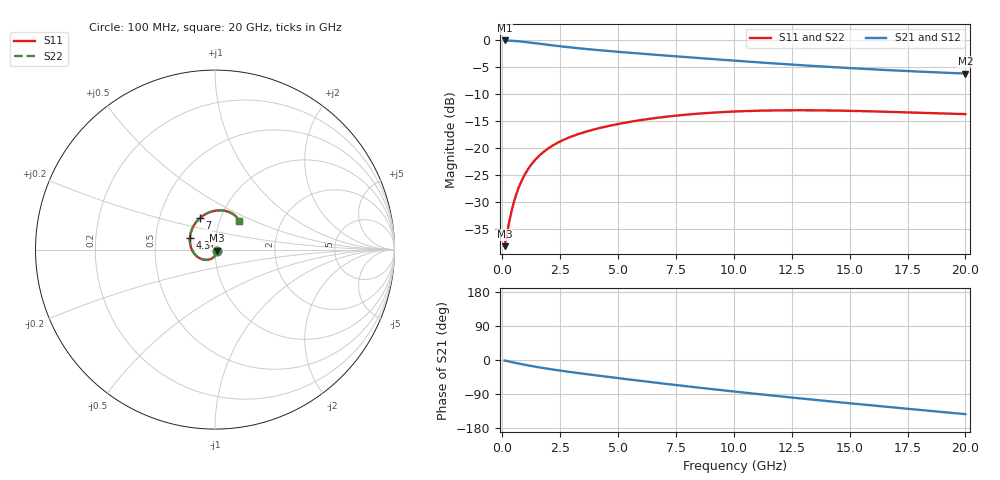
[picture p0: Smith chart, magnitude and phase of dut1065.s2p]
! Touchstone file exported from HFSS 2024.1.0
!  File:  C:/UserFiles/LocalFiles/RDL_TSV_Batchsim/temp_RDL_TSV_1065_1780091856.aedt
!  Generated:  06:11:51 AM May 30, 2026
!  Design:  RDL_TSV
!  Project:  temp_RDL_TSV_1065_1780091856
!  Setup:  Setup1
!  Solution:  Sweep
! Variables:
!  dtsv = 14.98um
!  hbump = 3um
!  htsv = 67.66um
!  ldown = 206.34um
!  lrdl = 285.38um
!  p = 40
!  p1 = 40.29um
!  rhole = 10um
!  subl = 1760.54um
!  t = 450um
!  tdown = 2.26um
!  trdl = 3.28um
!  viad = 10um
!  wdown = 17.84um
!  wrdl = 24.91um
!  xbump = 18um
# GHz S MA R 50.000000
! Terminal data exported
! Port[1] = TM1_1_T1
! Port[2] = TM1_4_T1
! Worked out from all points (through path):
!   200 points, 100 MHz to 20 GHz, reference 50 ohm
!   highest |S21| = -0.10 dB at 100 MHz (marker M1); lowest = -6.2 dB at 20 GHz (marker M2)
!   group delay of S21, straight-line fit = 18.9 ps
!   lowest |S11| = -38.1 dB at 100 MHz (marker M3), VSWR 1.03, Z = 51.1 - j0.64 ohm
!   |S11| at or under -10 dB: start of sweep to end of sweep
!   |S22| runs from -38.1 to -13.0 dB; largest |S21 - S12| = 1.4e-14
!   S11 on the Smith chart (normalised r, x): 100 MHz: 1.02, -0.01; 4.3 GHz: 0.75, +0.10; 7 GHz: 0.80, +0.29; 20 GHz: 1.23, +0.41
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0.1  0.01239 -30.4  0.9885 -1.4  0.9885 -1.4  0.01239 -30.4
! Gamma 0 0 0 0
! Port Impedance 50 0 50 0
0.3  0.02085 -66.9  0.9847 -4.1  0.9847 -4.1  0.02085 -66.9
0.4  0.02614 -77.6  0.9818 -5.5  0.9818 -5.5  0.02614 -77.6
0.6  0.03716 -93.2  0.9748 -8.1  0.9748 -8.1  0.03716 -93.2
0.7  0.04263 -99.5  0.9706 -9.3  0.9706 -9.3  0.04263 -99.4
0.9  0.05323 -110.2  0.9612 -11.8  0.9612 -11.8  0.05324 -110.2
1.2  0.06797 -123.8  0.9453 -15.2  0.9453 -15.2  0.06797 -123.8
1.6  0.08519 -139.1  0.9224 -19.5  0.9224 -19.5  0.08519 -139.1
2.1  0.1031 -155.4  0.8942 -24.4  0.8942 -24.4  0.1031 -155.3
2.7  0.1206 -171.8  0.8635 -29.7  0.8635 -29.7  0.1206 -171.8
3.5  0.1394 169.8  0.8287 -36.3  0.8287 -36.3  0.1393 169.9
4.3  0.155 154.5  0.7992 -42.5  0.7992 -42.5  0.1549 154.5
5.5  0.1746 135.3  0.7608 -51.6  0.7608 -51.6  0.1745 135.4
6.8  0.1918 118.4  0.7237 -61.1  0.7237 -61.1  0.1916 118.5
7  0.1941 116.1  0.7183 -62.5  0.7183 -62.5  0.1939 116.2
8.5  0.2084 100.6  0.6793 -73.0  0.6793 -73.0  0.2081 100.7
10.1  0.2181 87.3  0.6413 -83.8  0.6413 -83.8  0.2178 87.3
11.7  0.2228 76.5  0.6071 -94.1  0.6071 -94.1  0.2224 76.5
13.4  0.2234 67.3  0.5751 -104.6  0.5751 -104.6  0.223 67.3
15  0.2209 60.7  0.5489 -114.2  0.5489 -114.2  0.2204 60.6
16.7  0.2163 55.4  0.5251 -124.1  0.5251 -124.1  0.2157 55.3
20  0.206 49.8  0.4887 -142.9  0.4887 -142.9  0.2055 49.8
